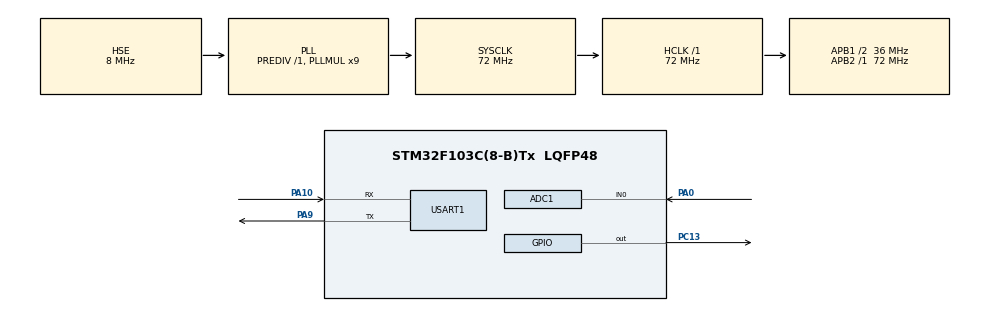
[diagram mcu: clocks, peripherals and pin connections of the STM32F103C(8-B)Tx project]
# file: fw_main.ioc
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ADC1.Channel-0\#ChannelRegularConversion=ADC_CHANNEL_0
ADC1.NbrOfConversionFlag=1
ADC1.Rank-0\#ChannelRegularConversion=1
ADC1.SamplingTime-0\#ChannelRegularConversion=ADC_SAMPLETIME_1CYCLE_5
ADC1.master=1
Mcu.Family=STM32F1
Mcu.Name=STM32F103C(8-B)Tx
Mcu.Package=LQFP48
NVIC.PriorityGroup=NVIC_PRIORITYGROUP_4
NVIC.TIM2_IRQn=true\:0\:0\:false\:false\:true\:true\:true\:true
PA0-WKUP.Signal=ADCx_IN0
PA10.Mode=Asynchronous
PA10.Signal=USART1_RX
PA13.Mode=Serial_Wire
PA13.Signal=SYS_JTMS-SWDIO
PA14.Mode=Serial_Wire
PA14.Signal=SYS_JTCK-SWCLK
PA9.Mode=Asynchronous
PA9.Signal=USART1_TX
PC13-TAMPER-RTC.Signal=GPIO_Output
PD0-OSC_IN.Mode=HSE-External-Oscillator
PD0-OSC_IN.Signal=RCC_OSC_IN
PD1-OSC_OUT.Mode=HSE-External-Oscillator
PD1-OSC_OUT.Signal=RCC_OSC_OUT
ProjectManager.HeapSize=0x200
ProjectManager.StackSize=0x400
ProjectManager.TargetToolchain=MDK-ARM V5.32
RCC.ADCPresc=RCC_ADCPCLK2_DIV8
RCC.AHBFreq_Value=72000000
RCC.APB1CLKDivider=RCC_HCLK_DIV2
RCC.APB1Freq_Value=36000000
RCC.APB1TimFreq_Value=72000000
RCC.APB2Freq_Value=72000000
RCC.APB2TimFreq_Value=72000000
RCC.HCLKFreq_Value=72000000
RCC.PLLMUL=RCC_PLL_MUL9
RCC.PLLSourceVirtual=RCC_PLLSOURCE_HSE
RCC.SYSCLKFreq_VALUE=72000000
RCC.SYSCLKSource=RCC_SYSCLKSOURCE_PLLCLK
RCC.USBFreq_Value=72000000
SH.ADCx_IN0.0=ADC1_IN0,IN0
TIM2.Period=99
TIM2.Prescaler=7199
USART1.VirtualMode=VM_ASYNC
VP_TIM2_VS_ClockSourceINT.Mode=Internal
board=custom

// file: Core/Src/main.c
/* USER CODE BEGIN Header */
/**
  ******************************************************************************
  * @file           : main.c
  * @brief          : Main program body
  ******************************************************************************
  * @attention
  *
  * Copyright (c) 2026 STMicroelectronics.
  * All rights reserved.
  *
  * This software is licensed under terms that can be found in the LICENSE file
  * in the root directory of this software component.
  * If no LICENSE file comes with this software, it is provided AS-IS.
  *
  ******************************************************************************
  */
/* USER CODE END Header */
#include "main.h"

ADC_HandleTypeDef hadc1;

TIM_HandleTypeDef htim2;

UART_HandleTypeDef huart1;

/* USER CODE BEGIN PV */
#include<stdio.h>
/* USER CODE END PV */

void SystemClock_Config(void);
static void MX_GPIO_Init(void);
static void MX_USART1_UART_Init(void);
static void MX_ADC1_Init(void);
static void MX_TIM2_Init(void);

/* USER CODE BEGIN 0 */
int fputc(int ch,FILE*f)
{
	HAL_UART_Transmit(&huart1,(uint8_t*)&ch,1,0xFFFF);
	return ch;
}
/* USER CODE END 0 */

int main(void)
{

  /* MCU Configuration--------------------------------------------------------*/

  /* Reset of all peripherals, Initializes the Flash interface and the Systick. */
  HAL_Init();

  /* Configure the system clock */
  SystemClock_Config();

  /* Initialize all configured peripherals */
  MX_GPIO_Init();
  MX_USART1_UART_Init();
  MX_ADC1_Init();
  MX_TIM2_Init();
  /* USER CODE BEGIN 2 */
	HAL_TIM_Base_Start_IT(&htim2);
  /* USER CODE END 2 */

  /* Infinite loop */
  while (1)
  {

  }

}

void SystemClock_Config(void)
{
  RCC_OscInitTypeDef RCC_OscInitStruct = {0};
  RCC_ClkInitTypeDef RCC_ClkInitStruct = {0};
  RCC_PeriphCLKInitTypeDef PeriphClkInit = {0};

  /** Initializes the RCC Oscillators according to the specified parameters
  * in the RCC_OscInitTypeDef structure.
  */
  RCC_OscInitStruct.OscillatorType = RCC_OSCILLATORTYPE_HSE;
  RCC_OscInitStruct.HSEState = RCC_HSE_ON;
  RCC_OscInitStruct.HSEPredivValue = RCC_HSE_PREDIV_DIV1;
  RCC_OscInitStruct.HSIState = RCC_HSI_ON;
  RCC_OscInitStruct.PLL.PLLState = RCC_PLL_ON;
  RCC_OscInitStruct.PLL.PLLSource = RCC_PLLSOURCE_HSE;
  RCC_OscInitStruct.PLL.PLLMUL = RCC_PLL_MUL9;
  if (HAL_RCC_OscConfig(&RCC_OscInitStruct) != HAL_OK)
  {
    Error_Handler();
  }

  /** Initializes the CPU, AHB and APB buses clocks
  */
  RCC_ClkInitStruct.ClockType = RCC_CLOCKTYPE_HCLK|RCC_CLOCKTYPE_SYSCLK
                              |RCC_CLOCKTYPE_PCLK1|RCC_CLOCKTYPE_PCLK2;
  RCC_ClkInitStruct.SYSCLKSource = RCC_SYSCLKSOURCE_PLLCLK;
  RCC_ClkInitStruct.AHBCLKDivider = RCC_SYSCLK_DIV1;
  RCC_ClkInitStruct.APB1CLKDivider = RCC_HCLK_DIV2;
  RCC_ClkInitStruct.APB2CLKDivider = RCC_HCLK_DIV1;

  if (HAL_RCC_ClockConfig(&RCC_ClkInitStruct, FLASH_LATENCY_2) != HAL_OK)
  {
    Error_Handler();
  }
  PeriphClkInit.PeriphClockSelection = RCC_PERIPHCLK_ADC;
  PeriphClkInit.AdcClockSelection = RCC_ADCPCLK2_DIV8;
  if (HAL_RCCEx_PeriphCLKConfig(&PeriphClkInit) != HAL_OK)
  {
    Error_Handler();
  }
}

static void MX_ADC1_Init(void)
{

  ADC_ChannelConfTypeDef sConfig = {0};

  /** Common config
  */
  hadc1.Instance = ADC1;
  hadc1.Init.ScanConvMode = ADC_SCAN_DISABLE;
  hadc1.Init.ContinuousConvMode = DISABLE;
  hadc1.Init.DiscontinuousConvMode = DISABLE;
  hadc1.Init.ExternalTrigConv = ADC_SOFTWARE_START;
  hadc1.Init.DataAlign = ADC_DATAALIGN_RIGHT;
  hadc1.Init.NbrOfConversion = 1;
  if (HAL_ADC_Init(&hadc1) != HAL_OK)
  {
    Error_Handler();
  }

  /** Configure Regular Channel
  */
  sConfig.Channel = ADC_CHANNEL_0;
  sConfig.Rank = ADC_REGULAR_RANK_1;
  sConfig.SamplingTime = ADC_SAMPLETIME_1CYCLE_5;
  if (HAL_ADC_ConfigChannel(&hadc1, &sConfig) != HAL_OK)
  {
    Error_Handler();
  }

}

static void MX_TIM2_Init(void)
{

  TIM_ClockConfigTypeDef sClockSourceConfig = {0};
  TIM_MasterConfigTypeDef sMasterConfig = {0};

  htim2.Instance = TIM2;
  htim2.Init.Prescaler = 7199;
  htim2.Init.CounterMode = TIM_COUNTERMODE_UP;
  htim2.Init.Period = 99;
  htim2.Init.ClockDivision = TIM_CLOCKDIVISION_DIV1;
  htim2.Init.AutoReloadPreload = TIM_AUTORELOAD_PRELOAD_DISABLE;
  if (HAL_TIM_Base_Init(&htim2) != HAL_OK)
  {
    Error_Handler();
  }
  sClockSourceConfig.ClockSource = TIM_CLOCKSOURCE_INTERNAL;
  if (HAL_TIM_ConfigClockSource(&htim2, &sClockSourceConfig) != HAL_OK)
  {
    Error_Handler();
  }
  sMasterConfig.MasterOutputTrigger = TIM_TRGO_RESET;
  sMasterConfig.MasterSlaveMode = TIM_MASTERSLAVEMODE_DISABLE;
  if (HAL_TIMEx_MasterConfigSynchronization(&htim2, &sMasterConfig) != HAL_OK)
  {
    Error_Handler();
  }

}

static void MX_USART1_UART_Init(void)
{

  huart1.Instance = USART1;
  huart1.Init.BaudRate = 115200;
  huart1.Init.WordLength = UART_WORDLENGTH_8B;
  huart1.Init.StopBits = UART_STOPBITS_1;
  huart1.Init.Parity = UART_PARITY_NONE;
  huart1.Init.Mode = UART_MODE_TX_RX;
  huart1.Init.HwFlowCtl = UART_HWCONTROL_NONE;
  huart1.Init.OverSampling = UART_OVERSAMPLING_16;
  if (HAL_UART_Init(&huart1) != HAL_OK)
  {
    Error_Handler();
  }

}

static void MX_GPIO_Init(void)
{
  GPIO_InitTypeDef GPIO_InitStruct = {0};

  /* GPIO Ports Clock Enable */
  __HAL_RCC_GPIOC_CLK_ENABLE();
  __HAL_RCC_GPIOD_CLK_ENABLE();
  __HAL_RCC_GPIOA_CLK_ENABLE();

  /*Configure GPIO pin Output Level */
  HAL_GPIO_WritePin(GPIOC, GPIO_PIN_13, GPIO_PIN_RESET);

  /*Configure GPIO pin : PC13 */
  GPIO_InitStruct.Pin = GPIO_PIN_13;
  GPIO_InitStruct.Mode = GPIO_MODE_OUTPUT_PP;
  GPIO_InitStruct.Pull = GPIO_NOPULL;
  GPIO_InitStruct.Speed = GPIO_SPEED_FREQ_LOW;
  HAL_GPIO_Init(GPIOC, &GPIO_InitStruct);

}
/* USER CODE BEGIN 4 */
	void HAL_TIM_PeriodElapsedCallback(TIM_HandleTypeDef *htim)
	{
		if (htim->Instance == TIM2 )
		{
			uint16_t adc_val = 0;
			uint8_t high_byte = 0;
			uint8_t low_byte = 0;
			uint8_t checksum = 0;
			uint8_t tx_buffer[4];
			HAL_ADC_Start(&hadc1);
			if (HAL_ADC_PollForConversion(&hadc1,10) == HAL_OK)
			{
				adc_val = HAL_ADC_GetValue(&hadc1);

				high_byte = (adc_val >> 8) & 0xFF;
				low_byte = adc_val & 0xFF;
				checksum = high_byte ^ low_byte;

				tx_buffer[0] = 0xAA;
				tx_buffer[1] = high_byte;
				tx_buffer[2] = low_byte;
				tx_buffer[3] = checksum;

				HAL_UART_Transmit(&huart1,tx_buffer,4,100);
			}
		}
	}
/* USER CODE END 4 */

void Error_Handler(void)
{
  __disable_irq();
  while (1)
  {
  }
}
